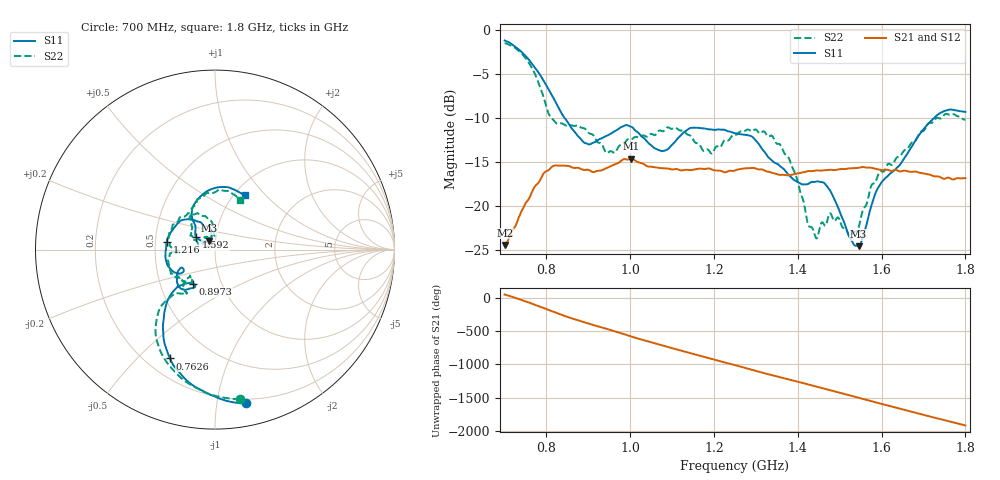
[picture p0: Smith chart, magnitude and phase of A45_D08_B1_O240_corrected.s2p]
! Created with skrf 1.9.0 (http://scikit-rf.org).
# Hz S RI R 50.0
!freq ReS11 ImS11 ReS21 ImS21 ReS12 ImS12 ReS22 ImS22
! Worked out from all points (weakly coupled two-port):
!   1601 points, 700 MHz to 1.8 GHz, reference 50 ohm
!   highest |S21| = -14.59 dB at 1.002 GHz (marker M1); lowest = -24.4 dB at 700.7 MHz (marker M2)
!   lowest |S11| = -24.5 dB at 1.545 GHz (marker M3), VSWR 1.13, Z = 46.6 + j4.63 ohm
!   |S11| at or under -10 dB: 843.9 MHz to 1.724 GHz (880.5 MHz wide, 68.6 % of centre)
!   |S22| runs from -23.6 to -1.5 dB; largest |S21 - S12| = 0.0036
!   S11 on the Smith chart (normalised r, x): 700 MHz: 0.17, -1.21; 762.6 MHz: 0.29, -0.63; 897.3 MHz: 0.73, -0.29; 1.216 GHz: 0.57, +0.05; 1.592 GHz: 0.80, +0.12; 1.8 GHz: 1.12, +0.76
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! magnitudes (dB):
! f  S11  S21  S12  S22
! 700 MHz  -1.2  -24.4  -24.2  -1.5
! 700.7 MHz  -1.2  -24.4  -24.1  -1.5
! 762.6 MHz  -3.7  -18.7  -18.7  -4.1
! 812.8 MHz  -7.4  -15.5  -15.5  -10.0
! 883.6 MHz  -12.5  -15.8  -15.7  -11.1
! 897.3 MHz  -12.9  -15.8  -15.9  -11.5
! 944.8 MHz  -12.0  -15.6  -15.6  -14.0
! 1.002 GHz  -11.0  -14.6  -14.7  -12.4
! 1.067 GHz  -13.6  -15.6  -15.6  -11.5
! 1.144 GHz  -11.1  -15.9  -15.9  -12.0
! 1.216 GHz  -11.3  -16.0  -16.0  -13.2
! 1.25 GHz  -11.7  -15.9  -15.9  -11.9
! 1.358 GHz  -15.4  -16.4  -16.4  -13.0
! 1.394 GHz  -17.1  -16.3  -16.3  -16.2
! 1.434 GHz  -17.2  -16.0  -16.0  -22.4
! 1.472 GHz  -17.9  -15.9  -15.9  -21.3
! 1.524 GHz  -23.6  -15.7  -15.7  -23.4
! 1.545 GHz  -24.5  -15.6  -15.6  -22.4
! 1.592 GHz  -17.9  -15.8  -15.8  -16.4
! 1.617 GHz  -16.4  -15.9  -15.9  -15.2
! 1.731 GHz  -9.7  -16.6  -16.6  -10.0
! 1.8 GHz  -9.3  -16.8  -16.8  -10.2
